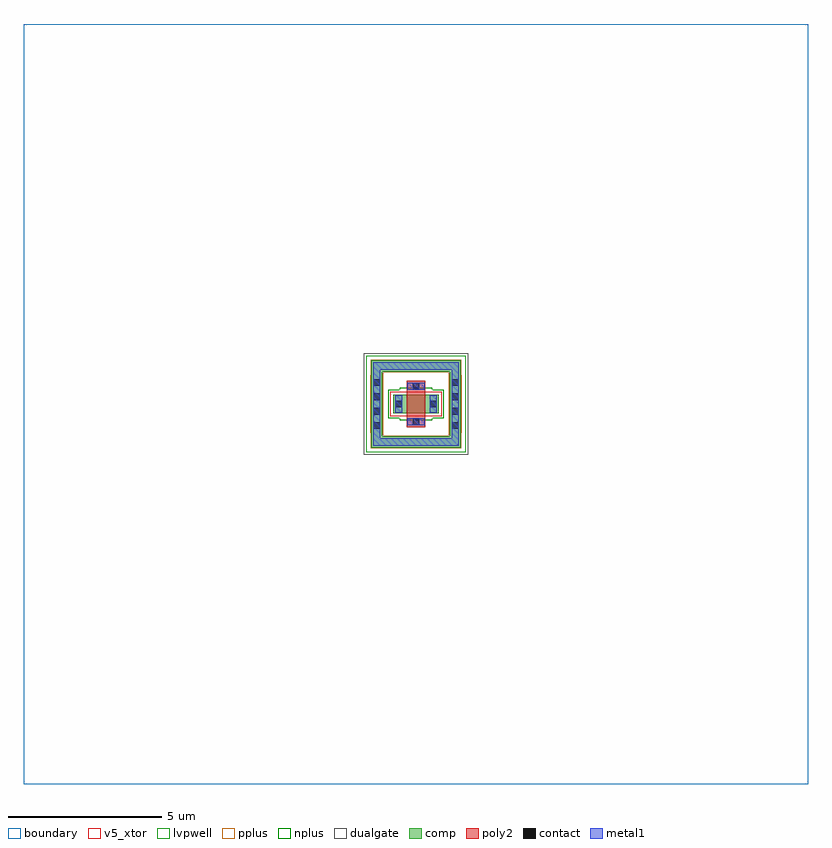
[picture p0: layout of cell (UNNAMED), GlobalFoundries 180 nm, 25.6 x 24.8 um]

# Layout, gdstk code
import gdstk
lib = gdstk.Library(unit=1e-6, precision=1e-09)
def R(c, l, rs):  # rectangles x0, y0, x1, y1
    for r in rs: c.add(gdstk.rectangle(r[:2], r[2:], *l))
def A(c, l, x, y, w, h, nx, ny, dx, dy):  # array of equal rectangles
    R(c, l, [(x+i*dx, y+j*dy, x+i*dx+w, y+j*dy+h) for i in range(nx) for j in range(ny)])
boundary = (0, 0)
comp = (22, 0)
poly2 = (30, 0)
pplus = (31, 0)
nplus = (32, 0)
contact = (33, 0)
metal1 = (34, 0)
dualgate = (55, 0)
v5_xtor = (112, 1)
lvpwell = (204, 0)

c__unnamed_ = lib.new_cell('(UNNAMED)')
R(c__unnamed_, boundary, [(-12.8,-12.4,12.8,12.4)])
R(c__unnamed_, comp, [(-1.46,-1.42,1.46,-1.06), (-1.46,-1.06,-1.1,1.06), (1.1,-1.06,1.46,1.06), (-0.74,-0.3,0.74,0.3), (-1.46,1.06,1.46,1.42)])
R(c__unnamed_, poly2, [(-0.3,-0.76,0.3,0.76)])
R(c__unnamed_, pplus, [(-1.48,-1.44,1.48,-1.04), (-1.48,-1.04,-1.07,-0.935), (1.07,-1.04,1.48,-0.935), (-1.49,-0.935,-1.07,0.935), (1.07,-0.935,1.49,0.935), (-1.48,0.935,-1.07,1.04), (1.07,0.935,1.48,1.04), (-1.48,1.04,1.48,1.44)])
R(c__unnamed_, nplus, [(-0.53,-0.53,0.53,-0.46), (-0.9,-0.46,0.9,0.46), (-0.53,0.46,0.53,0.53)])
A(c__unnamed_, contact, -1.39, -0.815, 0.22, 0.22, 1, 4, 0, 0.47)
A(c__unnamed_, contact, 1.17, -0.815, 0.22, 0.22, 1, 4, 0, 0.47)
R(c__unnamed_, contact, [(-0.11,-0.69,0.11,-0.47), (-0.67,-0.11,-0.45,0.11), (0.45,-0.11,0.67,0.11), (-0.11,0.47,0.11,0.69)])
R(c__unnamed_, metal1, [(-1.395,-1.355,1.395,-1.125), (-1.395,-1.125,-1.165,1.125), (1.165,-1.125,1.395,1.125), (-0.29,-0.695,0.29,-0.465), (-0.675,-0.29,-0.445,0.29), (0.445,-0.29,0.675,0.29), (-0.29,0.465,0.29,0.695), (-1.395,1.125,1.395,1.355)])
R(c__unnamed_, dualgate, [(-1.7,-1.66,1.7,1.66)])
R(c__unnamed_, v5_xtor, [(-0.84,-0.4,0.84,0.4)])
R(c__unnamed_, lvpwell, [(-1.62,-1.58,1.62,1.58)])

lib.write_gds('_UNNAMED_.gds')
